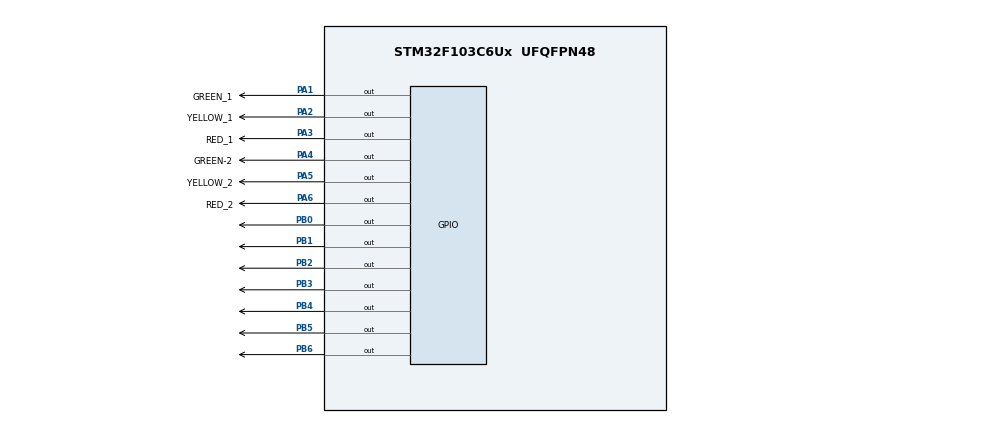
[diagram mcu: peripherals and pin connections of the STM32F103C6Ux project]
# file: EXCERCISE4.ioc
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Mcu.Family=STM32F1
Mcu.Name=STM32F103C6Ux
Mcu.Package=UFQFPN48
NVIC.PriorityGroup=NVIC_PRIORITYGROUP_4
PA1.GPIO_Label=GREEN_1
PA1.Signal=GPIO_Output
PA2.GPIO_Label=YELLOW_1
PA2.Signal=GPIO_Output
PA3.GPIO_Label=RED_1
PA3.Signal=GPIO_Output
PA4.GPIO_Label=GREEN-2
PA4.Signal=GPIO_Output
PA5.GPIO_Label=YELLOW_2
PA5.Signal=GPIO_Output
PA6.GPIO_Label=RED_2
PA6.Signal=GPIO_Output
PB0.Signal=GPIO_Output
PB1.Signal=GPIO_Output
PB2.Signal=GPIO_Output
PB3.Signal=GPIO_Output
PB4.Signal=GPIO_Output
PB5.Signal=GPIO_Output
PB6.Signal=GPIO_Output
ProjectManager.HeapSize=0x200
ProjectManager.StackSize=0x400
ProjectManager.TargetToolchain=STM32CubeIDE
RCC.APB1Freq_Value=8000000
RCC.APB2Freq_Value=8000000
VP_SYS_VS_ND.Mode=No_Debug
board=custom

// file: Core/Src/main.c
/* USER CODE BEGIN Header */
/**
  ******************************************************************************
  * @file           : main.c
  * @brief          : Main program body
  ******************************************************************************
  * @attention
  *
  * <h2><center>&copy; Copyright (c) 2023 STMicroelectronics.
  * All rights reserved.</center></h2>
  *
  * This software component is licensed by ST under BSD 3-Clause license,
  * the "License"; You may not use this file except in compliance with the
  * License. You may obtain a copy of the License at:
  *                        opensource.org/licenses/BSD-3-Clause
  *
  ******************************************************************************
  */
/* USER CODE END Header */
#include "main.h"

void SystemClock_Config(void);
static void MX_GPIO_Init(void);

int main(void)
{

  /* MCU Configuration--------------------------------------------------------*/

  /* Reset of all peripherals, Initializes the Flash interface and the Systick. */
  HAL_Init();

  /* Configure the system clock */
  SystemClock_Config();

  /* Initialize all configured peripherals */
  MX_GPIO_Init();

  /* Infinite loop */
  /* USER CODE BEGIN WHILE */
  void display7SEG( int num ){
  char LED7SEG [10] = {0xC0, 0xF9, 0xA4, 0xB0, 0x99, 0x92, 0x82, 0xF8, 0x80, 0x90 };
  for ( int i = 0; i < 7; ++ i) {
  HAL_GPIO_WritePin ( GPIOB , GPIO_PIN_0 << i , ( LED7SEG [num ] >> i ) & 1) ;
  }
  }
  int count = 0;
  int countYELLOW = 2, countGREEN = 3, LED_status = 1;
  while (1)
  {
	  /* Bai 3 */
	  if (LED_status == 1){
	  		  HAL_GPIO_WritePin(GPIOA, GREEN_1_Pin, SET);
	  		  HAL_GPIO_WritePin(GPIOA, YELLOW_1_Pin, RESET);
	  		  HAL_GPIO_WritePin(GPIOA, RED_1_Pin, RESET);
	  		  HAL_GPIO_WritePin(GPIOA, GREEN_2_Pin, RESET);
	  		  HAL_GPIO_WritePin(GPIOA, YELLOW_2_Pin, RESET);
	  		  HAL_GPIO_WritePin(GPIOA, RED_2_Pin, SET);
	  		  countGREEN --;
	  		  if (countGREEN <0){
	  			  countGREEN = 3;
	  			  LED_status = 2;
	  		  }
	  	  }
	  	  if (LED_status == 2){
	  	  		  HAL_GPIO_WritePin(GPIOA, GREEN_1_Pin, RESET);
	  	  		  HAL_GPIO_WritePin(GPIOA, YELLOW_1_Pin, SET);
	  	  		  HAL_GPIO_WritePin(GPIOA, RED_1_Pin, RESET);
	  	  		  HAL_GPIO_WritePin(GPIOA, GREEN_2_Pin, RESET);
	  	  		  HAL_GPIO_WritePin(GPIOA, YELLOW_2_Pin, RESET);
	  	  		  HAL_GPIO_WritePin(GPIOA, RED_2_Pin, SET);
	  	  		  countYELLOW --;
	  	  		  if (countYELLOW <0){
	  	  			  countYELLOW = 2;
	  	  			  LED_status = 3;
	  	  		  }
	  	  	  }
	  	  if (LED_status == 3){
	  	  	  		  HAL_GPIO_WritePin(GPIOA, GREEN_1_Pin, RESET);
	  	  	  		  HAL_GPIO_WritePin(GPIOA, YELLOW_1_Pin, RESET);
	  	  	  		  HAL_GPIO_WritePin(GPIOA, RED_1_Pin, SET);
	  	  	  		  HAL_GPIO_WritePin(GPIOA, GREEN_2_Pin, SET);
	  	  	  		  HAL_GPIO_WritePin(GPIOA, YELLOW_2_Pin, RESET);
	  	  	  		  HAL_GPIO_WritePin(GPIOA, RED_2_Pin, RESET);
	  	  	  		  countGREEN --;
	  	  	  		  if (countGREEN <0){
	  	  	  			  countGREEN = 3;
	  	  	  			  LED_status = 4;
	  	  	  		  }
	  	  	  	  }
	  	  if (LED_status == 4){
	  	  	  		  HAL_GPIO_WritePin(GPIOA, GREEN_1_Pin, RESET);
	  	  	  		  HAL_GPIO_WritePin(GPIOA, YELLOW_1_Pin, RESET);
	  	  	  		  HAL_GPIO_WritePin(GPIOA, RED_1_Pin, SET);
	  	  	  		  HAL_GPIO_WritePin(GPIOA, GREEN_2_Pin, RESET);
	  	  	  		  HAL_GPIO_WritePin(GPIOA, YELLOW_2_Pin, SET);
	  	  	  		  HAL_GPIO_WritePin(GPIOA, RED_2_Pin, RESET);
	  	  	  		  countYELLOW --;
	  	  	  		  if (countYELLOW <=0){
	  	  	  			  countYELLOW = 2;
	  	  	  			  LED_status = 1;
	  	  	  		  }
	  	  	  	  }
	  /* bai 4*/
	  if(count >= 10) count = 0;
	  display7SEG ( count ) ;
	  count ++ ;

	  HAL_Delay(1000);

    /* USER CODE END WHILE */

  }
}

void SystemClock_Config(void)
{
  RCC_OscInitTypeDef RCC_OscInitStruct = {0};
  RCC_ClkInitTypeDef RCC_ClkInitStruct = {0};

  /** Initializes the RCC Oscillators according to the specified parameters
  * in the RCC_OscInitTypeDef structure.
  */
  RCC_OscInitStruct.OscillatorType = RCC_OSCILLATORTYPE_HSI;
  RCC_OscInitStruct.HSIState = RCC_HSI_ON;
  RCC_OscInitStruct.HSICalibrationValue = RCC_HSICALIBRATION_DEFAULT;
  RCC_OscInitStruct.PLL.PLLState = RCC_PLL_NONE;
  if (HAL_RCC_OscConfig(&RCC_OscInitStruct) != HAL_OK)
  {
    Error_Handler();
  }
  /** Initializes the CPU, AHB and APB buses clocks
  */
  RCC_ClkInitStruct.ClockType = RCC_CLOCKTYPE_HCLK|RCC_CLOCKTYPE_SYSCLK
                              |RCC_CLOCKTYPE_PCLK1|RCC_CLOCKTYPE_PCLK2;
  RCC_ClkInitStruct.SYSCLKSource = RCC_SYSCLKSOURCE_HSI;
  RCC_ClkInitStruct.AHBCLKDivider = RCC_SYSCLK_DIV1;
  RCC_ClkInitStruct.APB1CLKDivider = RCC_HCLK_DIV1;
  RCC_ClkInitStruct.APB2CLKDivider = RCC_HCLK_DIV1;

  if (HAL_RCC_ClockConfig(&RCC_ClkInitStruct, FLASH_LATENCY_0) != HAL_OK)
  {
    Error_Handler();
  }
}

static void MX_GPIO_Init(void)
{
  GPIO_InitTypeDef GPIO_InitStruct = {0};

  /* GPIO Ports Clock Enable */
  __HAL_RCC_GPIOA_CLK_ENABLE();
  __HAL_RCC_GPIOB_CLK_ENABLE();

  /*Configure GPIO pin Output Level */
  HAL_GPIO_WritePin(GPIOA, GREEN_1_Pin|YELLOW_1_Pin|RED_1_Pin|GREEN_2_Pin
                          |YELLOW_2_Pin|RED_2_Pin, GPIO_PIN_RESET);

  /*Configure GPIO pin Output Level */
  HAL_GPIO_WritePin(GPIOB, GPIO_PIN_0|GPIO_PIN_1|GPIO_PIN_2|GPIO_PIN_3
                          |GPIO_PIN_4|GPIO_PIN_5|GPIO_PIN_6, GPIO_PIN_RESET);

  /*Configure GPIO pins : GREEN_1_Pin YELLOW_1_Pin RED_1_Pin GREEN_2_Pin
                           YELLOW_2_Pin RED_2_Pin */
  GPIO_InitStruct.Pin = GREEN_1_Pin|YELLOW_1_Pin|RED_1_Pin|GREEN_2_Pin
                          |YELLOW_2_Pin|RED_2_Pin;
  GPIO_InitStruct.Mode = GPIO_MODE_OUTPUT_PP;
  GPIO_InitStruct.Pull = GPIO_NOPULL;
  GPIO_InitStruct.Speed = GPIO_SPEED_FREQ_LOW;
  HAL_GPIO_Init(GPIOA, &GPIO_InitStruct);

  /*Configure GPIO pins : PB0 PB1 PB2 PB3
                           PB4 PB5 PB6 */
  GPIO_InitStruct.Pin = GPIO_PIN_0|GPIO_PIN_1|GPIO_PIN_2|GPIO_PIN_3
                          |GPIO_PIN_4|GPIO_PIN_5|GPIO_PIN_6;
  GPIO_InitStruct.Mode = GPIO_MODE_OUTPUT_PP;
  GPIO_InitStruct.Pull = GPIO_NOPULL;
  GPIO_InitStruct.Speed = GPIO_SPEED_FREQ_LOW;
  HAL_GPIO_Init(GPIOB, &GPIO_InitStruct);

}

void Error_Handler(void)
{
  __disable_irq();
  while (1)
  {
  }
}

/************************ (C) COPYRIGHT STMicroelectronics *****END OF FILE****/
